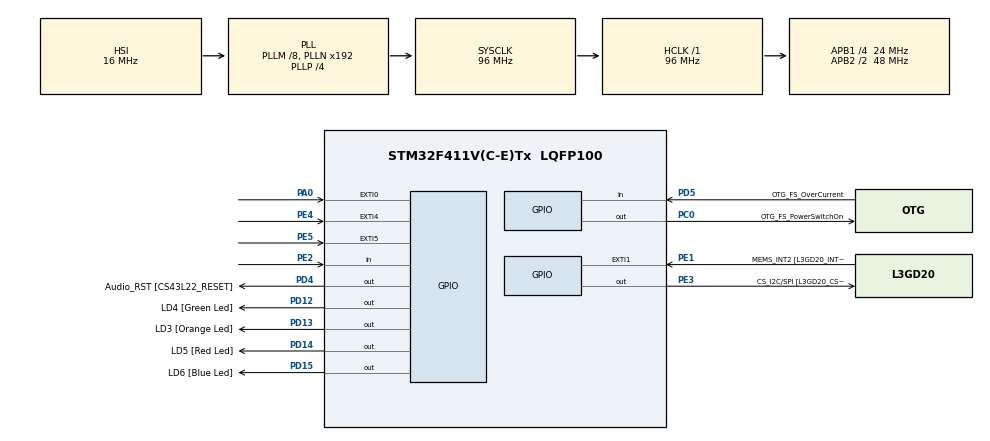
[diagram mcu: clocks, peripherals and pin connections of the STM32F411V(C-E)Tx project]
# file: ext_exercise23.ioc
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FREERTOS.BinarySemaphores01=Blue2Red,Dynamic,NULL;Blue2Green,Dynamic,NULL
FREERTOS.Tasks01=GreenLED,0,128,StartGreenLED,Default,NULL,Dynamic,NULL,NULL;RedLED,-3,128,StartRedLED,Default,NULL,Dynamic,NULL,NULL;BlueLED,-3,128,StartBlueLED,Default,NULL,Dynamic,NULL,NULL
Mcu.Family=STM32F4
Mcu.Name=STM32F411V(C-E)Tx
Mcu.Package=LQFP100
NVIC.PriorityGroup=NVIC_PRIORITYGROUP_4
NVIC.TIM1_UP_TIM10_IRQn=true\:0\:0\:false\:false\:true\:false\:false\:true
NVIC.TimeBase=TIM1_UP_TIM10_IRQn
NVIC.TimeBaseIP=TIM1
PA0-WKUP.GPIO_ModeDefaultEXTI=GPIO_MODE_EVT_RISING
PA0-WKUP.Signal=GPXTI0
PA10.GPIO_Label=OTG_FS_ID
PA10.Signal=USB_OTG_FS_ID
PA11.GPIO_Label=OTG_FS_DM
PA11.Signal=USB_OTG_FS_DM
PA12.GPIO_Label=OTG_FS_DP
PA12.Signal=USB_OTG_FS_DP
PA13.GPIO_Label=SWDIO
PA13.Signal=SYS_JTMS-SWDIO
PA14.GPIO_Label=SWCLK
PA14.Signal=SYS_JTCK-SWCLK
PA4.GPIO_Label=I2S3_WS [CS43L22_LRCK]
PA4.GPIO_Mode=GPIO_MODE_AF_PP
PA4.GPIO_PuPd=GPIO_NOPULL
PA4.GPIO_Speed=GPIO_SPEED_FREQ_LOW
PA4.Signal=I2S3_WS
PA5.GPIO_Label=SPI1_SCK [L3GD20_SC/SPC]
PA5.Signal=SPI1_SCK
PA6.GPIO_Label=SPI1_MISO [L3GD20_AS0/SDO]
PA6.Signal=SPI1_MISO
PA7.GPIO_Label=SPI1_MOSI [L3GD20_SDA/SDI/SDO]
PA7.Signal=SPI1_MOSI
PA9.GPIO_Label=VBUS_FS
PA9.Signal=USB_OTG_FS_VBUS
PB10.GPIO_Label=CLK_IN [MP45DT02_CLK]
PB10.Signal=I2S2_CK
PB12.Signal=I2S2_WS
PB3.GPIO_Label=SWO
PB3.Signal=SYS_JTDO-SWO
PB6.GPIO_Label=Audio_SCL [CS43L22_SCL]
PB6.GPIO_Mode=GPIO_MODE_AF_OD
PB6.GPIO_PuPd=GPIO_NOPULL
PB6.GPIO_Speed=GPIO_SPEED_FREQ_LOW
PB6.Signal=I2C1_SCL
PB9.GPIO_Label=Audio_SDA [CS43L22_SDA]
PB9.GPIO_Mode=GPIO_MODE_AF_OD
PB9.GPIO_PuPd=GPIO_NOPULL
PB9.GPIO_Speed=GPIO_SPEED_FREQ_LOW
PB9.Signal=I2C1_SDA
PC0.GPIO_Label=OTG_FS_PowerSwitchOn
PC0.PinState=GPIO_PIN_SET
PC0.Signal=GPIO_Output
PC10.GPIO_Label=I2S3_SCK [CS43L22_SCLK]
PC10.GPIO_Mode=GPIO_MODE_AF_PP
PC10.GPIO_PuPd=GPIO_NOPULL
PC10.GPIO_Speed=GPIO_SPEED_FREQ_LOW
PC10.Signal=I2S3_CK
PC12.GPIO_Label=I2S3_SD [CS43L22_SDIN]
PC12.GPIO_Mode=GPIO_MODE_AF_PP
PC12.GPIO_PuPd=GPIO_NOPULL
PC12.GPIO_Speed=GPIO_SPEED_FREQ_LOW
PC12.Signal=I2S3_SD
PC14-OSC32_IN.GPIO_Label=PC14-OSC32_IN
PC14-OSC32_IN.Signal=RCC_OSC32_IN
PC15-OSC32_OUT.GPIO_Label=PC15-OSC32_OUT
PC15-OSC32_OUT.Signal=RCC_OSC32_OUT
PC3.GPIO_Label=PDM_OUT [MP45DT02_DOUT]
PC3.Signal=I2S2_SD
PC7.GPIO_Label=I2S3_MCK [CS43L22_MCLK]
PC7.GPIO_Mode=GPIO_MODE_AF_PP
PC7.GPIO_PuPd=GPIO_NOPULL
PC7.GPIO_Speed=GPIO_SPEED_FREQ_LOW
PC7.Signal=I2S3_MCK
PD12.GPIO_Label=LD4 [Green Led]
PD12.GPIO_PuPd=GPIO_NOPULL
PD12.GPIO_Speed=GPIO_SPEED_FREQ_LOW
PD12.Signal=GPIO_Output
PD13.GPIO_Label=LD3 [Orange Led]
PD13.GPIO_PuPd=GPIO_NOPULL
PD13.GPIO_Speed=GPIO_SPEED_FREQ_LOW
PD13.Signal=GPIO_Output
PD14.GPIO_Label=LD5 [Red Led]
PD14.GPIO_PuPd=GPIO_NOPULL
PD14.GPIO_Speed=GPIO_SPEED_FREQ_LOW
PD14.Signal=GPIO_Output
PD15.GPIO_Label=LD6 [Blue Led]
PD15.GPIO_PuPd=GPIO_NOPULL
PD15.GPIO_Speed=GPIO_SPEED_FREQ_LOW
PD15.Signal=GPIO_Output
PD4.GPIO_Label=Audio_RST [CS43L22_RESET]
PD4.Signal=GPIO_Output
PD5.GPIO_Label=OTG_FS_OverCurrent
PD5.Signal=GPIO_Input
PE1.GPIO_Label=MEMS_INT2 [L3GD20_INT2]
PE1.GPIO_ModeDefaultEXTI=GPIO_MODE_EVT_RISING
PE1.Signal=GPXTI1
PE2.Signal=GPIO_Input
PE3.GPIO_Label=CS_I2C/SPI [L3GD20_CS_I2C/SPI]
PE3.Signal=GPIO_Output
PE4.GPIO_ModeDefaultEXTI=GPIO_MODE_EVT_RISING
PE4.Signal=GPXTI4
PE5.GPIO_ModeDefaultEXTI=GPIO_MODE_EVT_RISING
PE5.Signal=GPXTI5
PH0\ -\ OSC_IN.GPIO_Label=PH0-OSC_IN
PH0\ -\ OSC_IN.Signal=RCC_OSC_IN
PH1\ -\ OSC_OUT.GPIO_Label=PH1-OSC_OUT
PH1\ -\ OSC_OUT.Signal=RCC_OSC_OUT
ProjectManager.HeapSize=0x200
ProjectManager.StackSize=0x400
ProjectManager.TargetToolchain=STM32CubeIDE
RCC.48MHZClocksFreq_Value=48000000
RCC.AHBFreq_Value=96000000
RCC.APB1CLKDivider=RCC_HCLK_DIV4
RCC.APB1Freq_Value=24000000
RCC.APB1TimFreq_Value=48000000
RCC.APB2CLKDivider=RCC_HCLK_DIV2
RCC.APB2Freq_Value=48000000
RCC.APB2TimFreq_Value=96000000
RCC.CortexFreq_Value=96000000
RCC.HCLKFreq_Value=96000000
RCC.HSE_VALUE=8000000
RCC.HSI_VALUE=16000000
RCC.LSE_VALUE=32768
RCC.PLLI2SM=5
RCC.PLLI2SN=200
RCC.PLLM=8
RCC.PLLP=RCC_PLLP_DIV4
RCC.PLLQ=8
RCC.SYSCLKFreq_VALUE=96000000
RCC.SYSCLKSource=RCC_SYSCLKSOURCE_PLLCLK
RCC.VCOOutputFreq_Value=384000000
VP_FREERTOS_VS_CMSIS_V1.Mode=CMSIS_V1
VP_SYS_VS_tim1.Mode=TIM1
board=STM32F411E-DISCO

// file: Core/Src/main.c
/* USER CODE BEGIN Header */
/**
  ******************************************************************************
  * @file           : main.c
  * @brief          : Main program body
  ******************************************************************************
  * @attention
  *
  * <h2><center>&copy; Copyright (c) 2021 STMicroelectronics.
  * All rights reserved.</center></h2>
  *
  * This software component is licensed by ST under BSD 3-Clause license,
  * the "License"; You may not use this file except in compliance with the
  * License. You may obtain a copy of the License at:
  *                        opensource.org/licenses/BSD-3-Clause
  *
  ******************************************************************************
  */
/* USER CODE END Header */

#include "main.h"
#include "cmsis_os.h"

#define RED GPIO_PIN_14
#define GREEN GPIO_PIN_12
#define BLUE GPIO_PIN_15

osThreadId RedLEDHandle;
osThreadId GreenLEDHandle;
osThreadId BlueLEDHandle;
osSemaphoreId Blue2GreenHandle;
osSemaphoreId Blue2RedHandle;

void SystemClock_Config(void);
static void MX_GPIO_Init(void);
void StartRedLED(void const * argument);
void StartGreenLED(void const * argument);
void StartBlueLED(void const * argument);

int main(void)
{

  /* MCU Configuration--------------------------------------------------------*/

  /* Reset of all peripherals, Initializes the Flash interface and the Systick. */
  HAL_Init();

  /* Configure the system clock */
  SystemClock_Config();

  /* Initialize all configured peripherals */
  MX_GPIO_Init();

  /* Create the semaphores(s) */
  /* definition and creation of Blue2Green */
  osSemaphoreDef(Blue2Green);
  Blue2GreenHandle = osSemaphoreCreate(osSemaphore(Blue2Green), 1);

  /* definition and creation of Blue2Red */
  osSemaphoreDef(Blue2Red);
  Blue2RedHandle = osSemaphoreCreate(osSemaphore(Blue2Red), 1);

  /* USER CODE BEGIN RTOS_SEMAPHORES */
  osSemaphoreWait(Blue2GreenHandle, 0);
  osSemaphoreWait(Blue2RedHandle, 0);
  /* USER CODE END RTOS_SEMAPHORES */

  /* Create the thread(s) */
  /* definition and creation of RedLED */
  osThreadDef(RedLED, StartRedLED, osPriorityNormal, 0, 128);
  RedLEDHandle = osThreadCreate(osThread(RedLED), NULL);

  /* definition and creation of GreenLED */
  osThreadDef(GreenLED, StartGreenLED, osPriorityNormal, 0, 128);
  GreenLEDHandle = osThreadCreate(osThread(GreenLED), NULL);

  /* definition and creation of BlueLED */
  osThreadDef(BlueLED, StartBlueLED, osPriorityNormal, 0, 128);
  BlueLEDHandle = osThreadCreate(osThread(BlueLED), NULL);

  /* Start scheduler */
  osKernelStart();

  /* We should never get here as control is now taken by the scheduler */

  /* Infinite loop */
  while (1)
  {

  }
}

void SystemClock_Config(void)
{
  RCC_OscInitTypeDef RCC_OscInitStruct = {0};
  RCC_ClkInitTypeDef RCC_ClkInitStruct = {0};

  /** Configure the main internal regulator output voltage
  */
  __HAL_RCC_PWR_CLK_ENABLE();
  __HAL_PWR_VOLTAGESCALING_CONFIG(PWR_REGULATOR_VOLTAGE_SCALE1);
  /** Initializes the CPU, AHB and APB busses clocks
  */
  RCC_OscInitStruct.OscillatorType = RCC_OSCILLATORTYPE_HSI;
  RCC_OscInitStruct.HSIState = RCC_HSI_ON;
  RCC_OscInitStruct.HSICalibrationValue = RCC_HSICALIBRATION_DEFAULT;
  RCC_OscInitStruct.PLL.PLLState = RCC_PLL_ON;
  RCC_OscInitStruct.PLL.PLLSource = RCC_PLLSOURCE_HSI;
  RCC_OscInitStruct.PLL.PLLM = 8;
  RCC_OscInitStruct.PLL.PLLN = 192;
  RCC_OscInitStruct.PLL.PLLP = RCC_PLLP_DIV4;
  RCC_OscInitStruct.PLL.PLLQ = 8;
  if (HAL_RCC_OscConfig(&RCC_OscInitStruct) != HAL_OK)
  {
    Error_Handler();
  }
  /** Initializes the CPU, AHB and APB busses clocks
  */
  RCC_ClkInitStruct.ClockType = RCC_CLOCKTYPE_HCLK|RCC_CLOCKTYPE_SYSCLK
                              |RCC_CLOCKTYPE_PCLK1|RCC_CLOCKTYPE_PCLK2;
  RCC_ClkInitStruct.SYSCLKSource = RCC_SYSCLKSOURCE_PLLCLK;
  RCC_ClkInitStruct.AHBCLKDivider = RCC_SYSCLK_DIV1;
  RCC_ClkInitStruct.APB1CLKDivider = RCC_HCLK_DIV4;
  RCC_ClkInitStruct.APB2CLKDivider = RCC_HCLK_DIV2;

  if (HAL_RCC_ClockConfig(&RCC_ClkInitStruct, FLASH_LATENCY_3) != HAL_OK)
  {
    Error_Handler();
  }
}

static void MX_GPIO_Init(void)
{
  GPIO_InitTypeDef GPIO_InitStruct = {0};

  /* GPIO Ports Clock Enable */
  __HAL_RCC_GPIOE_CLK_ENABLE();
  __HAL_RCC_GPIOC_CLK_ENABLE();
  __HAL_RCC_GPIOH_CLK_ENABLE();
  __HAL_RCC_GPIOA_CLK_ENABLE();
  __HAL_RCC_GPIOB_CLK_ENABLE();
  __HAL_RCC_GPIOD_CLK_ENABLE();

  /*Configure GPIO pin Output Level */
  HAL_GPIO_WritePin(CS_I2C_SPI_GPIO_Port, CS_I2C_SPI_Pin, GPIO_PIN_RESET);

  /*Configure GPIO pin Output Level */
  HAL_GPIO_WritePin(OTG_FS_PowerSwitchOn_GPIO_Port, OTG_FS_PowerSwitchOn_Pin, GPIO_PIN_SET);

  /*Configure GPIO pin Output Level */
  HAL_GPIO_WritePin(GPIOD, LD4_Pin|LD3_Pin|LD5_Pin|LD6_Pin
                          |Audio_RST_Pin, GPIO_PIN_RESET);

  /*Configure GPIO pin : PE2 */
  GPIO_InitStruct.Pin = GPIO_PIN_2;
  GPIO_InitStruct.Mode = GPIO_MODE_INPUT;
  GPIO_InitStruct.Pull = GPIO_NOPULL;
  HAL_GPIO_Init(GPIOE, &GPIO_InitStruct);

  /*Configure GPIO pin : CS_I2C_SPI_Pin */
  GPIO_InitStruct.Pin = CS_I2C_SPI_Pin;
  GPIO_InitStruct.Mode = GPIO_MODE_OUTPUT_PP;
  GPIO_InitStruct.Pull = GPIO_NOPULL;
  GPIO_InitStruct.Speed = GPIO_SPEED_FREQ_LOW;
  HAL_GPIO_Init(CS_I2C_SPI_GPIO_Port, &GPIO_InitStruct);

  /*Configure GPIO pins : PE4 PE5 MEMS_INT2_Pin */
  GPIO_InitStruct.Pin = GPIO_PIN_4|GPIO_PIN_5|MEMS_INT2_Pin;
  GPIO_InitStruct.Mode = GPIO_MODE_EVT_RISING;
  GPIO_InitStruct.Pull = GPIO_NOPULL;
  HAL_GPIO_Init(GPIOE, &GPIO_InitStruct);

  /*Configure GPIO pin : OTG_FS_PowerSwitchOn_Pin */
  GPIO_InitStruct.Pin = OTG_FS_PowerSwitchOn_Pin;
  GPIO_InitStruct.Mode = GPIO_MODE_OUTPUT_PP;
  GPIO_InitStruct.Pull = GPIO_NOPULL;
  GPIO_InitStruct.Speed = GPIO_SPEED_FREQ_LOW;
  HAL_GPIO_Init(OTG_FS_PowerSwitchOn_GPIO_Port, &GPIO_InitStruct);

  /*Configure GPIO pin : PDM_OUT_Pin */
  GPIO_InitStruct.Pin = PDM_OUT_Pin;
  GPIO_InitStruct.Mode = GPIO_MODE_AF_PP;
  GPIO_InitStruct.Pull = GPIO_NOPULL;
  GPIO_InitStruct.Speed = GPIO_SPEED_FREQ_LOW;
  GPIO_InitStruct.Alternate = GPIO_AF5_SPI2;
  HAL_GPIO_Init(PDM_OUT_GPIO_Port, &GPIO_InitStruct);

  /*Configure GPIO pin : PA0 */
  GPIO_InitStruct.Pin = GPIO_PIN_0;
  GPIO_InitStruct.Mode = GPIO_MODE_EVT_RISING;
  GPIO_InitStruct.Pull = GPIO_NOPULL;
  HAL_GPIO_Init(GPIOA, &GPIO_InitStruct);

  /*Configure GPIO pin : I2S3_WS_Pin */
  GPIO_InitStruct.Pin = I2S3_WS_Pin;
  GPIO_InitStruct.Mode = GPIO_MODE_AF_PP;
  GPIO_InitStruct.Pull = GPIO_NOPULL;
  GPIO_InitStruct.Speed = GPIO_SPEED_FREQ_LOW;
  GPIO_InitStruct.Alternate = GPIO_AF6_SPI3;
  HAL_GPIO_Init(I2S3_WS_GPIO_Port, &GPIO_InitStruct);

  /*Configure GPIO pins : SPI1_SCK_Pin SPI1_MISO_Pin SPI1_MOSI_Pin */
  GPIO_InitStruct.Pin = SPI1_SCK_Pin|SPI1_MISO_Pin|SPI1_MOSI_Pin;
  GPIO_InitStruct.Mode = GPIO_MODE_AF_PP;
  GPIO_InitStruct.Pull = GPIO_NOPULL;
  GPIO_InitStruct.Speed = GPIO_SPEED_FREQ_VERY_HIGH;
  GPIO_InitStruct.Alternate = GPIO_AF5_SPI1;
  HAL_GPIO_Init(GPIOA, &GPIO_InitStruct);

  /*Configure GPIO pins : CLK_IN_Pin PB12 */
  GPIO_InitStruct.Pin = CLK_IN_Pin|GPIO_PIN_12;
  GPIO_InitStruct.Mode = GPIO_MODE_AF_PP;
  GPIO_InitStruct.Pull = GPIO_NOPULL;
  GPIO_InitStruct.Speed = GPIO_SPEED_FREQ_LOW;
  GPIO_InitStruct.Alternate = GPIO_AF5_SPI2;
  HAL_GPIO_Init(GPIOB, &GPIO_InitStruct);

  /*Configure GPIO pins : LD4_Pin LD3_Pin LD5_Pin LD6_Pin
                           Audio_RST_Pin */
  GPIO_InitStruct.Pin = LD4_Pin|LD3_Pin|LD5_Pin|LD6_Pin
                          |Audio_RST_Pin;
  GPIO_InitStruct.Mode = GPIO_MODE_OUTPUT_PP;
  GPIO_InitStruct.Pull = GPIO_NOPULL;
  GPIO_InitStruct.Speed = GPIO_SPEED_FREQ_LOW;
  HAL_GPIO_Init(GPIOD, &GPIO_InitStruct);

  /*Configure GPIO pins : I2S3_MCK_Pin I2S3_SCK_Pin I2S3_SD_Pin */
  GPIO_InitStruct.Pin = I2S3_MCK_Pin|I2S3_SCK_Pin|I2S3_SD_Pin;
  GPIO_InitStruct.Mode = GPIO_MODE_AF_PP;
  GPIO_InitStruct.Pull = GPIO_NOPULL;
  GPIO_InitStruct.Speed = GPIO_SPEED_FREQ_LOW;
  GPIO_InitStruct.Alternate = GPIO_AF6_SPI3;
  HAL_GPIO_Init(GPIOC, &GPIO_InitStruct);

  /*Configure GPIO pin : VBUS_FS_Pin */
  GPIO_InitStruct.Pin = VBUS_FS_Pin;
  GPIO_InitStruct.Mode = GPIO_MODE_INPUT;
  GPIO_InitStruct.Pull = GPIO_NOPULL;
  HAL_GPIO_Init(VBUS_FS_GPIO_Port, &GPIO_InitStruct);

  /*Configure GPIO pins : OTG_FS_ID_Pin OTG_FS_DM_Pin OTG_FS_DP_Pin */
  GPIO_InitStruct.Pin = OTG_FS_ID_Pin|OTG_FS_DM_Pin|OTG_FS_DP_Pin;
  GPIO_InitStruct.Mode = GPIO_MODE_AF_PP;
  GPIO_InitStruct.Pull = GPIO_NOPULL;
  GPIO_InitStruct.Speed = GPIO_SPEED_FREQ_VERY_HIGH;
  GPIO_InitStruct.Alternate = GPIO_AF10_OTG_FS;
  HAL_GPIO_Init(GPIOA, &GPIO_InitStruct);

  /*Configure GPIO pin : OTG_FS_OverCurrent_Pin */
  GPIO_InitStruct.Pin = OTG_FS_OverCurrent_Pin;
  GPIO_InitStruct.Mode = GPIO_MODE_INPUT;
  GPIO_InitStruct.Pull = GPIO_NOPULL;
  HAL_GPIO_Init(OTG_FS_OverCurrent_GPIO_Port, &GPIO_InitStruct);

  /*Configure GPIO pins : Audio_SCL_Pin Audio_SDA_Pin */
  GPIO_InitStruct.Pin = Audio_SCL_Pin|Audio_SDA_Pin;
  GPIO_InitStruct.Mode = GPIO_MODE_AF_OD;
  GPIO_InitStruct.Pull = GPIO_PULLUP;
  GPIO_InitStruct.Speed = GPIO_SPEED_FREQ_LOW;
  GPIO_InitStruct.Alternate = GPIO_AF4_I2C1;
  HAL_GPIO_Init(GPIOB, &GPIO_InitStruct);

}

void StartRedLED(void const * argument)
{
  /* USER CODE BEGIN 5 */
  /* Infinite loop */
  for(;;)
  {
    osSemaphoreWait(Blue2RedHandle, osWaitForever);
    for(int i = 0; i < 100*2; i++){
    	HAL_GPIO_TogglePin(GPIOD, RED);
    	osDelay(50);
    }
  }
  /* USER CODE END 5 */
}

void StartGreenLED(void const * argument)
{
  /* USER CODE BEGIN StartGreenLED */
  /* Infinite loop */
	  for(;;)
	  {
	    osSemaphoreWait(Blue2GreenHandle, osWaitForever);
	    for(int i = 0; i < 100*2; i++){
	    	HAL_GPIO_TogglePin(GPIOD, GREEN);
	    	osDelay(50);
	    }
	  }
  /* USER CODE END StartGreenLED */
}

void StartBlueLED(void const * argument)
{
  /* USER CODE BEGIN StartBlueLED */
  /* Infinite loop */
  for(;;)
  {
    for(int i = 0; i < 10*2; i++){
    	HAL_GPIO_TogglePin(GPIOD, BLUE);
    	osDelay(500);
    }

    osSemaphoreRelease(Blue2GreenHandle);

    osDelay(6000);

    osSemaphoreRelease(Blue2RedHandle);
  }
  /* USER CODE END StartBlueLED */
}

void HAL_TIM_PeriodElapsedCallback(TIM_HandleTypeDef *htim)
{
  if (htim->Instance == TIM1) {
    HAL_IncTick();
  }
}

void Error_Handler(void)
{
}

/************************ (C) COPYRIGHT STMicroelectronics *****END OF FILE****/
